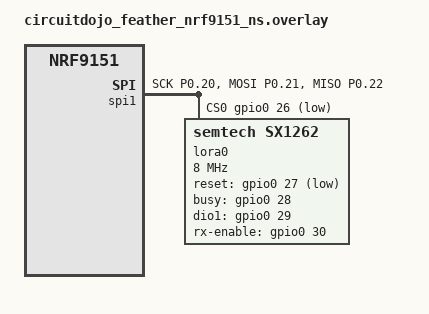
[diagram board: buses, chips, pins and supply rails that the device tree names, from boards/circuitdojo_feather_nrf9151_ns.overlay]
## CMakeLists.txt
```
cmake_minimum_required(VERSION 3.20.0)

# Register ret-client as a module whether or not the active west manifest
# lists it.
list(APPEND ZEPHYR_EXTRA_MODULES ${CMAKE_CURRENT_SOURCE_DIR}/../..)

find_package(Zephyr REQUIRED HINTS $ENV{ZEPHYR_BASE})
project(ret_lora_gateway)

target_sources(app PRIVATE src/main.c src/radio_task.c src/uplink.c src/store_zms.c)
# A transport node uses the library's internals, not the client API.
target_include_directories(app PRIVATE ../../src)

if(CONFIG_BOARD_NATIVE_SIM)
    target_sources(app PRIVATE src/network_sim.c src/radio_sim.c)
else()
    # The Feather: LTE through the modem, an SX1262 through Zephyr's LoRa API.
    target_sources(app PRIVATE src/network_modem.c src/radio_lora.c)
endif()
```

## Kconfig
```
# Copyright (c) 2026 Circuit Dojo LLC
# SPDX-License-Identifier: LicenseRef-Reticulum

menu "ret_lora_gateway sample"

config RET_GATEWAY_HOST
	string "Hub host name or address"
	help
	  An rnsd with a TCPServerInterface (any stock rnsd). The gateway
	  connects out to it, so its own address doesn't matter.

config RET_GATEWAY_PORT
	int "Hub port"
	default 4242
	range 1 65535

config RET_GATEWAY_RECONNECT_MAX_S
	int "Longest wait between reconnects (s)"
	default 60
	range 1 3600
	help
	  The wait doubles from 1 s after each failed connect.

config RET_GATEWAY_IFAC_NETWORK_NAME
	string "Hub interface's network_name (IFAC)"
	default ""

config RET_GATEWAY_IFAC_PASSPHRASE
	string "Hub interface's passphrase (IFAC)"
	default ""
	help
	  Set in env/<name>.conf, which git ignores: it ends up in the
	  firmware image. With neither name nor passphrase the uplink is open.

config RET_GATEWAY_IFAC_SIZE
	int "Hub interface's IFAC size in bytes (ifac_size / 8)"
	default 16
	range 1 64

config RET_GATEWAY_ANNOUNCE_CAP
	int "Uplink announce cap (percent of its bitrate)"
	default 2
	range 1 100

config RET_LORA_IFAC_NETWORK_NAME
	string "LoRa network_name (IFAC)"
	default ""
	help
	  Every node on the LoRa network must use the same.

config RET_LORA_IFAC_PASSPHRASE
	string "LoRa passphrase (IFAC)"
	default ""

config RET_LORA_IFAC_SIZE
	int "LoRa IFAC size in bytes"
	default 8
	range 1 8
	help
	  RNode's default. A 500-byte packet plus the code must fit the
	  508-byte LoRa MTU, so at most 8.

config RET_LORA_ANNOUNCE_CAP
	int "LoRa announce cap (percent of airtime)"
	default 2
	range 1 100
	help
	  Announces forwarded onto LoRa may use this share of the airtime;
	  the rest wait in a queue, fewest hops first.

config RET_LORA_TX_QUEUE
	int "Packets waiting for the radio"
	default 4
	range 1 32

config RET_LORA_BACKOFF_MS
	int "Longest random wait before transmitting (ms)"
	default 500
	range 0 10000
	help
	  The radio has no carrier sense yet, so this is the only thing
	  separating transmissions from other nodes. Restarted whenever a
	  frame is received.

config RET_LORA_FREQ_HZ
	int "Frequency (Hz)"
	default 915000000

config RET_LORA_BW_HZ
	int "Bandwidth (Hz)"
	default 500000
	help
	  Every node on the network must use the same frequency, bandwidth,
	  spreading factor and coding rate.

config RET_LORA_SF
	int "Spreading factor"
	default 9
	range 5 12

config RET_LORA_CR
	int "Coding rate denominator (5 to 8, for 4/5 to 4/8)"
	default 5
	range 5 8

config RET_LORA_TX_POWER_DBM
	int "TX power (dBm)"
	default 14
	range -9 22

rsource "Kconfig.store"

if !NRF_MODEM_LIB

config RET_LORA_SIM_AIR_PORT
	int "UDP port of the simulated air (tools/rns_peer/air.py)"
	default 5100

config RET_LORA_SIM_LOCAL_PORT
	int "UDP port of this simulated radio"
	default 5101

endif

endmenu

source "Kconfig.zephyr"
```

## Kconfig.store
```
# Copyright (c) 2026 Circuit Dojo LLC
# SPDX-License-Identifier: LicenseRef-Reticulum
#
# The path store (src/store_zms.c), shared by the gateway and bench/.

config RET_GATEWAY_STORE_MAX_PATHS
	int "Paths kept in flash"
	default 512
	range 16 65535
	help
	  One ZMS record per destination on gw_paths_partition. When this
	  many are stored, or ZMS is full, the record written longest ago
	  makes room. The RAM index takes 8 bytes per path, plus 4 per path of
	  boot-time scratch, and the partition must hold them all twice over
	  (checked at build time and at mount).

config RET_GATEWAY_ZMS_CACHE
	int "ZMS lookup cache entries for the path store"
	default 1024
	help
	  8 bytes each. A read whose cache slot belongs to another path walks
	  the log back from the newest entry: keep this at about twice
	  RET_GATEWAY_STORE_MAX_PATHS.
```

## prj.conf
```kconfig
CONFIG_MAIN_STACK_SIZE=8192
CONFIG_HEAP_MEM_POOL_SIZE=4096

CONFIG_NETWORKING=y
CONFIG_NET_SOCKETS=y
CONFIG_NET_IPV4=y
CONFIG_NET_TCP=y

# A transport node: the protocol core and the routing tables, no client.
CONFIG_RET_CORE=y
CONFIG_RET_TRANSPORT=y

# Paths in ZMS, a record each, on a partition of their own
# (gw_paths_partition); settings (identity, boot counter) in ZMS on the
# board's settings partition. 32-bit IDs keep ZMS's data CRC.
CONFIG_FLASH=y
CONFIG_FLASH_MAP=y
CONFIG_FLASH_PAGE_LAYOUT=y
CONFIG_ZMS=y
CONFIG_ZMS_DATA_CRC=y
CONFIG_ZMS_LOOKUP_CACHE=y
CONFIG_ZMS_LOOKUP_CACHE_MANUAL=y
CONFIG_SETTINGS=y
CONFIG_SETTINGS_ZMS=y

CONFIG_POLL=y
CONFIG_LOG=y
```

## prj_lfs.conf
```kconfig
CONFIG_MAIN_STACK_SIZE=8192
CONFIG_HEAP_MEM_POOL_SIZE=4096

CONFIG_NETWORKING=y
CONFIG_NET_SOCKETS=y
CONFIG_NET_IPV4=y
CONFIG_NET_TCP=y

# A transport node: the protocol core and the routing tables, no client.
CONFIG_RET_CORE=y
CONFIG_RET_TRANSPORT=y

# Paths and the node's identity live on LittleFS (/lfs): the paths as one
# file each, settings in a file next to them.
CONFIG_FLASH=y
CONFIG_FLASH_MAP=y
CONFIG_FLASH_PAGE_LAYOUT=y
CONFIG_FILE_SYSTEM=y
CONFIG_FILE_SYSTEM_LITTLEFS=y
CONFIG_SETTINGS=y
CONFIG_SETTINGS_FILE=y
CONFIG_SETTINGS_FILE_PATH="/lfs/gw-settings"
CONFIG_RET_GATEWAY_STORE_LFS=y

CONFIG_POLL=y
CONFIG_LOG=y
```

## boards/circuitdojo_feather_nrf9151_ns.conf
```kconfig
# The Feather: LTE through the modem (offloaded sockets), as samples/ret_basic.
CONFIG_NET_SOCKETS_OFFLOAD=y
CONFIG_NET_IPV6=y
CONFIG_NET_IPV6_NBR_CACHE=n
CONFIG_NET_IPV6_MLD=n
# The modem runs TCP/IP: trim Zephyr's native stack (see ret_basic's board conf).
CONFIG_NET_TCP=n
CONFIG_NET_MAX_CONN=1
CONFIG_NET_MAX_CONTEXTS=1
CONFIG_NET_PKT_RX_COUNT=2
CONFIG_NET_PKT_TX_COUNT=2
CONFIG_NET_BUF_RX_COUNT=4
CONFIG_NET_BUF_TX_COUNT=4
CONFIG_NRF_MODEM_LIB=y
CONFIG_NRF_MODEM_LIB_NET_IF=y
CONFIG_NRF_MODEM_LIB_NET_IF_AUTO_START=y
CONFIG_NRF_MODEM_LIB_NET_IF_AUTO_CONNECT=y
CONFIG_NET_CONNECTION_MANAGER=y
CONFIG_NET_CONNECTION_MANAGER_MONITOR_STACK_SIZE=1024
CONFIG_AT_MONITOR_HEAP_SIZE=1024

# TF-M with the crypto the library needs.
CONFIG_TFM_PROFILE_TYPE_NOT_SET=y
# TF-M logs on UART instance 1 by default, which makes the instance secure:
# SPIM1 (the SX1262's SPI, the same instance) then bus-faults the
# non-secure app at its first register write (pinctrl, at boot).
CONFIG_TFM_LOG_LEVEL_SILENCE=y

# The SX1262's IRQ work (SPI transfers, the RX callback copying a 256-byte
# frame, CRC-error and queue-full logs in immediate mode) runs on the
# system workqueue: 1152 bytes by default is tight.
CONFIG_SYSTEM_WORKQUEUE_STACK_SIZE=2048
CONFIG_NPM13XX_CHARGER=n
CONFIG_STS4X=n

# The external W25Q128 NOR, holding settings and paths (ZMS).
CONFIG_SPI=y
CONFIG_SPI_NOR=y
CONFIG_SPI_NOR_FLASH_LAYOUT_PAGE_SIZE=4096
CONFIG_SPI_NOR_SFDP_RUNTIME=y

# The SX1262, through Zephyr's native driver. It must not sleep between
# operations: a late RX-done would find it asleep.
CONFIG_LORA=y
CONFIG_LORA_MODULE_BACKEND_NATIVE=y
# The LoRaMac-node driver defaults on for any SX1262 in the devicetree,
# whatever the backend; its module is not in the workspace.
CONFIG_LORA_SX126X=n
CONFIG_LORA_SX126X_NATIVE_SLEEP=n

CONFIG_THREAD_ANALYZER=y
CONFIG_THREAD_ANALYZER_AUTO=y
CONFIG_THREAD_ANALYZER_AUTO_INTERVAL=60
CONFIG_THREAD_NAME=y
CONFIG_LOG_MODE_IMMEDIATE=y
```

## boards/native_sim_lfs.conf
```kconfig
# Host sockets (NSOS), as in the other samples. The radio is simulated
# over UDP, see src/radio_sim.c.
CONFIG_NET_DRIVERS=y
CONFIG_NET_SOCKETS_OFFLOAD=y
CONFIG_NET_NATIVE_OFFLOADED_SOCKETS=y
CONFIG_NET_UDP=y
CONFIG_ETH_NATIVE_TAP=n

CONFIG_PICOLIBC=y

CONFIG_MBEDTLS=y
CONFIG_MBEDTLS_BUILTIN=y
CONFIG_MBEDTLS_ENABLE_HEAP=y
CONFIG_MBEDTLS_HEAP_SIZE=8192

CONFIG_RET_GATEWAY_HOST="127.0.0.1"
```

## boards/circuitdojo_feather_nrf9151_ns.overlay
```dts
/*
 * The gateway on the nRF9151 Feather.
 *
 * - Internal flash: TF-M and the app (samples/common), no bootloader.
 * - External NOR: ZMS settings and paths, each on a partition of their own,
 *   instead of the board's 16 MB LittleFS. Flashing this replaces whatever
 *   LittleFS held there (other samples' settings).
 * - SX1262: a Seeed Wio-SX1262 for XIAO (the version with the 30-pin
 *   board-to-board connector), wired as in ../docs/wio-sx1262-hookup.md.
 *   SPI on the Feather header (SCK P0.20, COPI P0.21, CIPO P0.22) through
 *   spi1 (uart1's instance, unused); the NOR keeps spi3. Control pins:
 *   NSS D2 (P0.26), NRESET D3 (P0.27), BUSY D4 (P0.28), DIO1 D5 (P0.29),
 *   RF_SW D6 (P0.30). The module's RF switch has two controls: DIO2 for
 *   TX, RF_SW (high in RX, low otherwise) for RX. Driving RF_SW alongside
 *   DIO2 needs zephyr/patches.yml (the native driver otherwise ignores
 *   rx-enable-gpios when dio2-tx-enable is set). TCXO 1.8 V from DIO3.
 */

#include <zephyr/dt-bindings/lora/sx126x.h>

#include "../../common/circuitdojo_feather_nrf9151_ns_flash.dtsi"

/delete-node/ &lfs;
/delete-node/ &lfs_partition;

/ {
	chosen {
		zephyr,settings-partition = &gw_settings_partition;
	};
};

&w25q128jv {
	partitions {
		gw_settings_partition: partition@0 {
			label = "gw-settings";
			reg = <0x00000000 0x00010000>;
		};

		gw_paths_partition: partition@10000 {
			label = "gw-paths";
			reg = <0x00010000 0x00800000>;
		};
	};
};

&pinctrl {
	spi1_default: spi1_default {
		group1 {
			psels = <NRF_PSEL(SPIM_SCK, 0, 20)>,
				<NRF_PSEL(SPIM_MOSI, 0, 21)>,
				<NRF_PSEL(SPIM_MISO, 0, 22)>;
		};
	};

	spi1_sleep: spi1_sleep {
		group1 {
			psels = <NRF_PSEL(SPIM_SCK, 0, 20)>,
				<NRF_PSEL(SPIM_MOSI, 0, 21)>,
				<NRF_PSEL(SPIM_MISO, 0, 22)>;
			low-power-enable;
		};
	};
};

&uart1 {
	status = "disabled";
};

&spi1 {
	compatible = "nordic,nrf-spim";
	status = "okay";
	cs-gpios = <&gpio0 26 GPIO_ACTIVE_LOW>;
	pinctrl-0 = <&spi1_default>;
	pinctrl-1 = <&spi1_sleep>;
	pinctrl-names = "default", "sleep";

	lora0: lora@0 {
		compatible = "semtech,sx1262";
		reg = <0>;
		spi-max-frequency = <8000000>;
		reset-gpios = <&gpio0 27 GPIO_ACTIVE_LOW>;
		busy-gpios = <&gpio0 28 GPIO_ACTIVE_HIGH>;
		dio1-gpios = <&gpio0 29 GPIO_ACTIVE_HIGH>;
		rx-enable-gpios = <&gpio0 30 GPIO_ACTIVE_HIGH>;
		dio2-tx-enable;
		dio3-tcxo-voltage = <SX126X_DIO3_TCXO_1V8>;
		tcxo-power-startup-delay-ms = <5>;
	};
};
```

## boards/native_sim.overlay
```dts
/*
 * LittleFS at /lfs, as on the Feather's external NOR: the upper half of
 * the simulated flash (a file, --flash=<path>), above the board's
 * partitions.
 */

/ {
	fstab {
		compatible = "zephyr,fstab";
		lfs: lfs {
			compatible = "zephyr,fstab,littlefs";
			mount-point = "/lfs";
			partition = <&lfs_partition>;
			automount;
			read-size = <16>;
			prog-size = <16>;
			cache-size = <64>;
			lookahead-size = <32>;
			block-cycles = <512>;
		};
	};
};

&flash0 {
	partitions {
		lfs_partition: partition@100000 {
			label = "lfs";
			reg = <0x00100000 0x00100000>;
		};
	};
};
```

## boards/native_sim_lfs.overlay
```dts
/*
 * LittleFS at /lfs, as on the Feather's external NOR: the upper half of
 * the simulated flash (a file, --flash=<path>), above the board's
 * partitions.
 */

/ {
	fstab {
		compatible = "zephyr,fstab";
		lfs: lfs {
			compatible = "zephyr,fstab,littlefs";
			mount-point = "/lfs";
			partition = <&lfs_partition>;
			automount;
			read-size = <16>;
			prog-size = <16>;
			cache-size = <64>;
			lookahead-size = <32>;
			block-cycles = <512>;
		};
	};
};

&flash0 {
	partitions {
		lfs_partition: partition@100000 {
			compatible = "zephyr,mapped-partition";
			label = "lfs";
			reg = <0x00100000 0x00100000>;
		};
	};
};
```

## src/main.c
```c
/*
 * Copyright (c) 2026 Circuit Dojo LLC
 * SPDX-License-Identifier: LicenseRef-Reticulum
 *
 * LoRa gateway: a Reticulum transport node with two interfaces, the LoRa
 * radio (RNode framing, gateway mode) and a TCP uplink to a stock rnsd.
 * It routes LoRa to LoRa itself and LoRa to the hub's network, so the hub
 * needs no special configuration. This thread owns all routing state
 * (src/ret_transport.c); the radio and uplink threads post frames to it.
 */

#include <errno.h>
#include <stdio.h>
#include <string.h>

#include <zephyr/kernel.h>
#include <zephyr/logging/log.h>
#include <zephyr/settings/settings.h>

#include "gateway.h"
#include "network.h"
#include "ret_crypto.h"
#include "ret_identity.h"
#include "ret_ifac.h"
#include "ret_rnode_air.h"
#include "ret_transport.h"

LOG_MODULE_REGISTER(gateway, LOG_LEVEL_INF);

#define LORA_QUEUE_DEPTH   4
#define UPLINK_QUEUE_DEPTH 6
/* A hub that keeps sending could otherwise starve the timers. */
#define MAX_EVENTS_PER_JOB 8
/* At most one IFAC failure report per interface per this long. */
#define IFAC_REPORT_MS     30000

struct gw_msg {
	uint8_t type;
	uint16_t len;
	uint8_t data[RET_TRANSPORT_FRAME_MAX];
};

/* LoRa frames, and the uplink's frames and events, queued apart: the radio
 * thread can't wait (it would miss frames), the uplink thread can.
 */
K_MSGQ_DEFINE(lora_q, sizeof(struct gw_msg), LORA_QUEUE_DEPTH, 4);
K_MSGQ_DEFINE(uplink_q, sizeof(struct gw_msg), UPLINK_QUEUE_DEPTH, 4);

static struct ret_transport tp;
static struct ret_local_identity identity;
static struct ret_ifac lora_ifac;
static struct ret_ifac uplink_ifac;

/* Settings: gw/id (the transport identity's private key), gw/boot. */
static uint8_t stored_prv[RET_PRVKEY_LEN];
static bool have_id;
static uint32_t boot;
static int settings_err;

static int gw_set(const char *name, size_t len, settings_read_cb read_cb, void *cb_arg)
{
	if (strcmp(name, "id") == 0) {
		if (len != sizeof(stored_prv) ||
		    read_cb(cb_arg, stored_prv, sizeof(stored_prv)) != (ssize_t)len) {
			settings_err = -EBADMSG;
			return 0;
		}
		have_id = true;
	} else if (strcmp(name, "boot") == 0) {
		if (len != sizeof(boot) || read_cb(cb_arg, &boot, sizeof(boot)) != (ssize_t)len) {
			settings_err = -EBADMSG;
		}
	}
	/* Noted rather than returned: an error would stop the load there. */
	return 0;
}

SETTINGS_STATIC_HANDLER_DEFINE(gw, "gw", NULL, gw_set, NULL, NULL);

/* The transport identity is the node's transport ID: keep it across boots. */
static int load_identity(void)
{
	int err = settings_subsys_init();

	if (!err) {
		err = settings_load_subtree("gw");
	}
	if (!err) {
		err = settings_err;
	}
	if (err) {
		/* Never replace an unreadable identity: paths others hold through us use it. */
		LOG_ERR("settings unreadable: %d", err);
		return err;
	}
	if (!have_id && boot > 0) {
		/* Booted before but the identity is gone: the settings file was damaged. */
		LOG_ERR("identity missing after %u boots", boot);
		return -ENOENT;
	}
	if (have_id) {
		err = ret_local_identity_load(&identity, stored_prv);
	} else {
		err = ret_local_identity_generate(&identity, stored_prv);
		if (!err) {
			err = settings_save_one("gw/id", stored_prv, sizeof(stored_prv));
		}
	}
	ret_wipe(stored_prv, sizeof(stored_prv));
	if (err) {
		return err;
	}
	boot++;
	return settings_save_one("gw/boot", &boot, sizeof(boot));
}

static int lora_send(struct ret_transport_iface *iface, const uint8_t *frame, size_t len)
{
	ARG_UNUSED(iface);
	return radio_task_send(frame, len);
}

static int uplink_tx(struct ret_transport_iface *iface, const uint8_t *frame, size_t len)
{
	ARG_UNUSED(iface);
	return uplink_send(frame, len);
}

static struct ret_transport_iface lora = {
	.name = "LoRa",
	/* Path requests from LoRa nodes for unknown destinations go upstream. */
	.mode = RET_IFACE_MODE_GATEWAY,
	.hw_mtu = RET_RNODE_MTU,
	/* As an RNode: no link MTU signalling onto the radio. */
	.mtu_signalling = false,
	.announce_cap = CONFIG_RET_LORA_ANNOUNCE_CAP * 100,
	.send = lora_send,
};

static struct ret_transport_iface uplink = {
	.name = "uplink",
	.mode = RET_IFACE_MODE_FULL,
	/* TCPClientInterface's figure. */
	.bitrate = 10 * 1000 * 1000,
	/* Nothing larger can go anywhere from here, and links through us
	 * then signal what LoRa can carry.
	 */
	.hw_mtu = RET_RNODE_MTU,
	.mtu_signalling = true,
	.announce_cap = CONFIG_RET_GATEWAY_ANNOUNCE_CAP * 100,
	.send = uplink_tx,
};

static struct ret_transport_iface *const ifaces[] = { &lora, &uplink };

static int setup_ifac(struct ret_ifac *f, const char *name, const char *pass, uint8_t size,
		      const struct ret_ifac **out)
{
	int err;

	if (name[0] == '\0' && pass[0] == '\0') {
		*out = NULL;
		return 0;
	}
	err = ret_ifac_init(f, name, pass, size);
	*out = err ? NULL : f;
	return err;
}

int gw_post(enum gw_event type, const uint8_t *data, size_t len, k_timeout_t timeout)
{
	struct gw_msg m = { .type = (uint8_t)type, .len = (uint16_t)len };

	if (len > sizeof(m.data)) {
		return -EMSGSIZE;
	}
	if (len) {
		memcpy(m.data, data, len);
	}
	return k_msgq_put(type == GW_FRAME_LORA ? &lora_q : &uplink_q, &m, timeout);
}

static void handle(const struct gw_msg *m)
{
	int64_t now = k_uptime_get();
	uint8_t hash[RET_HASH_LEN];

	switch (m->type) {
	case GW_FRAME_LORA:
		ret_transport_inbound(&tp, &lora, m->data, m->len, now);
		break;
	case GW_FRAME_UPLINK:
		ret_transport_inbound(&tp, &uplink, m->data, m->len, now);
		break;
	case GW_UPLINK_UP:
		ret_transport_iface_online(&tp, &uplink, true, now);
		uplink_iface_hash(hash);
		if (ret_transport_synthesize_tunnel(&tp, &uplink, hash, now)) {
			LOG_WRN("tunnel synthesis not sent");
		}
		break;
	case GW_UPLINK_DOWN:
		ret_transport_iface_online(&tp, &uplink, false, now);
		break;
	default:
		break;
	}
}

static void log_identity(void)
{
	char hex[2 * RET_TRUNC_HASH_LEN + 1];

	for (int i = 0; i < RET_TRUNC_HASH_LEN; i++) {
		snprintf(&hex[2 * i], 3, "%02x", identity.hash[i]);
	}
	LOG_INF("transport node <%s>, boot %u", hex, boot);
}

/*
 * Frames failing IFAC are dropped before routing, so nothing from a node
 * without the passphrase reaches the uplink. Report them, rate limited: a
 * neighbour on the same channel without the passphrase is normal on LoRa.
 */
static void report_ifac_drops(int64_t now)
{
	static uint32_t reported[ARRAY_SIZE(ifaces)];
	static int64_t next_report[ARRAY_SIZE(ifaces)];

	for (size_t i = 0; i < ARRAY_SIZE(ifaces); i++) {
		uint32_t n = ifaces[i]->ifac_drops;

		if (n != reported[i] && now >= next_report[i]) {
			LOG_INF("%s: %u frames failed IFAC, dropped (%u total)", ifaces[i]->name,
				n - reported[i], n);
			reported[i] = n;
			next_report[i] = now + IFAC_REPORT_MS;
		}
	}
}

int main(void)
{
	static struct gw_msg m;
	struct k_poll_event ev[2];
	struct ret_transport_store *store;
	int64_t next;
	int err;

	err = ret_crypto_init();
	if (!err) {
		err = load_identity();
	}
	if (!err) {
		err = store_init(&store);
	}
	if (!err) {
		err = setup_ifac(&lora_ifac, CONFIG_RET_LORA_IFAC_NETWORK_NAME,
				 CONFIG_RET_LORA_IFAC_PASSPHRASE, CONFIG_RET_LORA_IFAC_SIZE,
				 &lora.ifac);
	}
	if (!err) {
		err = setup_ifac(&uplink_ifac, CONFIG_RET_GATEWAY_IFAC_NETWORK_NAME,
				 CONFIG_RET_GATEWAY_IFAC_PASSPHRASE, CONFIG_RET_GATEWAY_IFAC_SIZE,
				 &uplink.ifac);
	}
	if (err) {
		LOG_ERR("start failed: %d", err);
		return 0;
	}
	log_identity();

	lora.bitrate = radio_task_bitrate();
	err = ret_transport_init(&tp, &identity, store, ifaces, ARRAY_SIZE(ifaces), boot,
				 k_uptime_get());
	if (!err) {
		err = radio_task_start();
	}
	if (err) {
		LOG_ERR("start failed: %d", err);
		return 0;
	}
	ret_transport_iface_online(&tp, &lora, true, k_uptime_get());
	LOG_INF("LoRa %d Hz, BW %d Hz, SF%d, CR 4/%d, %d dBm, %u bps", CONFIG_RET_LORA_FREQ_HZ,
		CONFIG_RET_LORA_BW_HZ, CONFIG_RET_LORA_SF, CONFIG_RET_LORA_CR,
		CONFIG_RET_LORA_TX_POWER_DBM, lora.bitrate);

	wait_for_network();
	uplink_start();

	k_poll_event_init(&ev[0], K_POLL_TYPE_MSGQ_DATA_AVAILABLE, K_POLL_MODE_NOTIFY_ONLY,
			  &lora_q);
	k_poll_event_init(&ev[1], K_POLL_TYPE_MSGQ_DATA_AVAILABLE, K_POLL_MODE_NOTIFY_ONLY,
			  &uplink_q);
	next = k_uptime_get();
	for (;;) {
		int64_t now = k_uptime_get();

		if (now >= next) {
			next = ret_transport_jobs(&tp, now);
			report_ifac_drops(now);
		}
		ev[0].state = K_POLL_STATE_NOT_READY;
		ev[1].state = K_POLL_STATE_NOT_READY;
		(void)k_poll(ev, ARRAY_SIZE(ev), K_MSEC(MAX(next - now, 0)));
		/* LoRa first: frames on the air don't wait. */
		for (int handled = 0; handled < MAX_EVENTS_PER_JOB; handled++) {
			if (k_msgq_get(&lora_q, &m, K_NO_WAIT) != 0 &&
			    k_msgq_get(&uplink_q, &m, K_NO_WAIT) != 0) {
				break;
			}
			handle(&m);
		}
	}
	return 0;
}
```

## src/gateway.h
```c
/*
 * Copyright (c) 2026 Circuit Dojo LLC
 * SPDX-License-Identifier: LicenseRef-Reticulum
 *
 * The gateway's parts: the transport thread (main.c) owns all routing
 * state; the radio and uplink threads only move frames and post them to it.
 */

#ifndef GATEWAY_H_
#define GATEWAY_H_

#include <stddef.h>
#include <stdint.h>
#include <sys/types.h>

#include <zephyr/kernel.h>

#include "ret_transport.h"

enum gw_event {
	GW_FRAME_LORA,
	GW_FRAME_UPLINK,
	GW_UPLINK_UP,
	GW_UPLINK_DOWN,
};

/**
 * Hand a frame or an event to the transport thread. LoRa frames have a
 * queue of their own, so a busy uplink can't crowd them out.
 */
int gw_post(enum gw_event type, const uint8_t *data, size_t len, k_timeout_t timeout);

/* radio_task.c */
int radio_task_start(void);
/** Queue a packet (up to 508 bytes) for the radio. Never blocks. Transport thread only. */
int radio_task_send(const uint8_t *pkt, size_t len);
/** The radio's bitrate, by RNode's formula (RNodeInterface.updateBitrate). */
uint32_t radio_task_bitrate(void);

/* uplink.c */
int uplink_start(void);
/** Send a frame to the hub (HDLC framed). Called on the transport thread. */
int uplink_send(const uint8_t *frame, size_t len);
/** SHA-256 naming the uplink for tunnel synthesis; the same on every connect. */
void uplink_iface_hash(uint8_t hash[RET_HASH_LEN]);

/* store_zms.c */
int store_init(struct ret_transport_store **store);
/** Flash the store occupies now, in bytes. */
ssize_t store_used_bytes(void);

#endif /* GATEWAY_H_ */
```

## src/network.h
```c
/*
 * Copyright (c) 2026 Circuit Dojo LLC
 * SPDX-License-Identifier: LicenseRef-Reticulum
 */

#ifndef NETWORK_H_
#define NETWORK_H_

/** Block until the network is up (LTE on the modem; no-op on native_sim). */
void wait_for_network(void);

#endif /* NETWORK_H_ */
```

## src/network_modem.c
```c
/*
 * Copyright (c) 2026 Circuit Dojo LLC
 * SPDX-License-Identifier: LicenseRef-Reticulum
 */

#include <zephyr/kernel.h>
#include <zephyr/logging/log.h>
#include <zephyr/net/conn_mgr_monitor.h>
#include <zephyr/net/net_event.h>
#include <zephyr/net/net_mgmt.h>

#include "network.h"

LOG_MODULE_REGISTER(network, LOG_LEVEL_INF);

static K_SEM_DEFINE(l4_up, 0, 1);
static struct net_mgmt_event_callback l4_cb;

static void l4_handler(struct net_mgmt_event_callback *cb, uint64_t event,
		       struct net_if *iface)
{
	ARG_UNUSED(cb);
	ARG_UNUSED(iface);

	if (event == NET_EVENT_L4_CONNECTED) {
		LOG_INF("LTE connected");
		k_sem_give(&l4_up);
	} else if (event == NET_EVENT_L4_DISCONNECTED) {
		/* The client notices on its own and reconnects when LTE returns. */
		LOG_WRN("LTE disconnected");
	}
}

void wait_for_network(void)
{
	net_mgmt_init_event_callback(&l4_cb, l4_handler,
				     NET_EVENT_L4_CONNECTED | NET_EVENT_L4_DISCONNECTED);
	net_mgmt_add_event_callback(&l4_cb);
	/* Replays the current state, in case LTE came up before we listened. */
	conn_mgr_mon_resend_status();

	LOG_INF("waiting for LTE...");
	k_sem_take(&l4_up, K_FOREVER);
}
```

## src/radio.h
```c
/*
 * Copyright (c) 2026 Circuit Dojo LLC
 * SPDX-License-Identifier: LicenseRef-Reticulum
 */

#ifndef RADIO_H_
#define RADIO_H_

#include <stddef.h>
#include <stdint.h>

struct radio_frame {
	const uint8_t *data;
	size_t len;
};

/**
 * Called for each frame received. Possibly on a system thread: copy the
 * frame and return.
 */
typedef void (*radio_rx_cb)(const uint8_t *data, size_t len);

/** Configure the radio and start receiving. */
int radio_init(radio_rx_cb cb);

/**
 * Transmit frames back to back, with nothing between them, and go back to
 * receiving. Blocks until the last one is sent.
 */
int radio_send(const struct radio_frame *frames, size_t count);

#endif /* RADIO_H_ */
```

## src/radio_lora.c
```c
/*
 * Copyright (c) 2026 Circuit Dojo LLC
 * SPDX-License-Identifier: LicenseRef-Reticulum
 *
 * The SX1262 through Zephyr's LoRa API (native SX126x driver), set up as an
 * RNode: explicit header, CRC on, no IQ inversion, the private sync word
 * (0x1424), and a long preamble. Configured once: lora_config() fails with
 * -EBUSY while receiving. A send stops reception, sends the frames back to
 * back and starts receiving again; if that restart fails, it is retried
 * every second until it works, so the gateway is never left deaf.
 */

#include <errno.h>
#include <stdbool.h>

#include <zephyr/device.h>
#include <zephyr/drivers/lora.h>
#include <zephyr/kernel.h>
#include <zephyr/logging/log.h>

#include "radio.h"

LOG_MODULE_REGISTER(radio_lora, LOG_LEVEL_INF);

/* RNode sends at least 18 preamble symbols; 24 covers its usual figure. */
#define PREAMBLE_SYMBOLS 24

/*
 * The native driver gives every transmission 10 s on the chip
 * (sx126x_set_tx(dev, 10000)): a longer frame is cut off on the air. The
 * worst case is a full 255-byte frame, by the SX126x datasheet formula
 * (low data rate optimisation assumed, 4.25 preamble symbols rounded up).
 * At SF12 / 125 kHz / CR 4/8 it is about 14.6 s.
 */
#define FRAME_MAX_BYTES   255
#define FRAME_PAYLOAD_SYM                                                                          \
	(DIV_ROUND_UP(8 * FRAME_MAX_BYTES + 44 - 4 * CONFIG_RET_LORA_SF,                           \
		      4 * (CONFIG_RET_LORA_SF - 2)) *                                              \
	 CONFIG_RET_LORA_CR)
#define FRAME_AIRTIME_MS                                                                           \
	(((uint64_t)(PREAMBLE_SYMBOLS + 5 + 8 + FRAME_PAYLOAD_SYM) * BIT(CONFIG_RET_LORA_SF) *     \
	  MSEC_PER_SEC) /                                                                          \
	 CONFIG_RET_LORA_BW_HZ)
#define DRIVER_TX_TIMEOUT_MS 10000
BUILD_ASSERT(FRAME_AIRTIME_MS < DRIVER_TX_TIMEOUT_MS,
	     "a full LoRa frame takes longer than the driver allows a transmission (10 s): "
	     "raise the bandwidth or lower the spreading factor or coding rate");

#define RX_RETRY_MS      1000
/* While a send holds the radio: try again shortly after. */
#define RX_BUSY_RETRY_MS 100

static const struct device *const lora = DEVICE_DT_GET(DT_NODELABEL(lora0));
static radio_rx_cb rx_cb;

/* Held by radio_send(); the retry work only ever tries it. */
static K_MUTEX_DEFINE(radio_lock);
/* Under radio_lock: the last attempt to receive failed. */
static bool rx_down;
static void rx_retry(struct k_work *work);
static K_WORK_DELAYABLE_DEFINE(rx_retry_work, rx_retry);

/* On the driver's work queue: radio_task.c's callback copies and returns. */
static void on_rx(const struct device *dev, uint8_t *data, uint16_t size, int16_t rssi,
		  int8_t snr, void *user)
{
	ARG_UNUSED(dev);
	ARG_UNUSED(rssi);
	ARG_UNUSED(snr);
	ARG_UNUSED(user);
	if (size > 0) {
		rx_cb(data, size);
	}
}

static int receive(void)
{
	return lora_recv_async(lora, on_rx, NULL);
}

/*
 * Receive again, retrying from the system work queue until it works.
 * Logged when reception stops and when it comes back, not every retry.
 */
static int receive_or_retry(void)
{
	int err = receive();

	if (err && !rx_down) {
		LOG_ERR("receive: %d, retrying every %d ms", err, RX_RETRY_MS);
	} else if (!err && rx_down) {
		LOG_INF("receiving again");
	}
	rx_down = err != 0;
	if (rx_down) {
		k_work_reschedule(&rx_retry_work, K_MSEC(RX_RETRY_MS));
	}
	return err;
}

/*
 * On the system work queue, which also runs the driver's IRQ work (TX
 * done): never wait for radio_send() here, it may be waiting for that.
 */
static void rx_retry(struct k_work *work)
{
	ARG_UNUSED(work);
	if (k_mutex_lock(&radio_lock, K_NO_WAIT) != 0) {
		k_work_reschedule(&rx_retry_work, K_MSEC(RX_BUSY_RETRY_MS));
		return;
	}
	/* A send since may have restarted reception already. */
	if (rx_down) {
		(void)receive_or_retry();
	}
	k_mutex_unlock(&radio_lock);
}

int radio_init(radio_rx_cb cb)
{
	struct lora_modem_config cfg = {
		.frequency = CONFIG_RET_LORA_FREQ_HZ,
		.bandwidth = (enum lora_signal_bandwidth)(CONFIG_RET_LORA_BW_HZ / 1000),
		.datarate = (enum lora_datarate)CONFIG_RET_LORA_SF,
		.coding_rate = (enum lora_coding_rate)(CONFIG_RET_LORA_CR - 4),
		.preamble_len = PREAMBLE_SYMBOLS,
		.tx_power = CONFIG_RET_LORA_TX_POWER_DBM,
		.tx = false,
		.iq_inverted = false,
		.public_network = false,
	};
	int err;

	if (!device_is_ready(lora)) {
		LOG_ERR("SX1262 not ready");
		return -ENODEV;
	}
	rx_cb = cb;
	err = lora_config(lora, &cfg);
	if (err) {
		LOG_ERR("config: %d", err);
		return err;
	}
	/* No retry at boot: a radio that can't receive from the start fails
	 * the gateway's start, loudly.
	 */
	err = receive();
	if (err) {
		LOG_ERR("receive: %d", err);
	}
	return err;
}

int radio_send(const struct radio_frame *frames, size_t count)
{
	int err;
	int rx_err;

	k_mutex_lock(&radio_lock, K_FOREVER);
	/* Not needed with the lock held, but no point in it firing. */
	k_work_cancel_delayable(&rx_retry_work);
	err = lora_recv_async(lora, NULL, NULL);
	for (size_t i = 0; !err && i < count; i++) {
		err = lora_send(lora, (uint8_t *)frames[i].data, (uint32_t)frames[i].len);
	}
	if (err) {
		LOG_WRN("send: %d", err);
	}
	/* Always back to receiving, even after a failed send. */
	rx_err = receive_or_retry();
	k_mutex_unlock(&radio_lock);
	return err ? err : rx_err;
}
```

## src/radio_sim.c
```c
/*
 * Copyright (c) 2026 Circuit Dojo LLC
 * SPDX-License-Identifier: LicenseRef-Reticulum
 *
 * A radio on native_sim: each LoRa frame is one UDP datagram to the
 * simulated air (tools/rns_peer/air.py), which decides who hears it.
 */

#include <errno.h>

#include <zephyr/kernel.h>
#include <zephyr/logging/log.h>
#include <zephyr/net/socket.h>

#include "radio.h"
#include "ret_rnode_air.h"

LOG_MODULE_REGISTER(radio_sim, LOG_LEVEL_INF);

#define RX_STACK_SIZE 2048

static int sock = -1;
static struct sockaddr_in air;
static radio_rx_cb rx_cb;
static K_THREAD_STACK_DEFINE(rx_stack, RX_STACK_SIZE);
static struct k_thread rx_thread;

static void rx_loop(void *a, void *b, void *c)
{
	static uint8_t buf[RET_RNODE_FRAME_MAX];

	ARG_UNUSED(a);
	ARG_UNUSED(b);
	ARG_UNUSED(c);

	for (;;) {
		ssize_t n = zsock_recv(sock, buf, sizeof(buf), 0);

		if (n > 0) {
			rx_cb(buf, (size_t)n);
		} else if (n < 0) {
			LOG_ERR("recv: %d", errno);
			k_sleep(K_MSEC(100));
		}
	}
}

int radio_init(radio_rx_cb cb)
{
	struct sockaddr_in local = {
		.sin_family = AF_INET,
		.sin_port = htons(CONFIG_RET_LORA_SIM_LOCAL_PORT),
	};

	rx_cb = cb;
	air.sin_family = AF_INET;
	air.sin_port = htons(CONFIG_RET_LORA_SIM_AIR_PORT);
	zsock_inet_pton(AF_INET, "127.0.0.1", &air.sin_addr);
	zsock_inet_pton(AF_INET, "127.0.0.1", &local.sin_addr);

	sock = zsock_socket(AF_INET, SOCK_DGRAM, IPPROTO_UDP);
	if (sock < 0) {
		return -errno;
	}
	if (zsock_bind(sock, (struct sockaddr *)&local, sizeof(local)) < 0) {
		return -errno;
	}
	k_thread_create(&rx_thread, rx_stack, K_THREAD_STACK_SIZEOF(rx_stack), rx_loop, NULL, NULL,
			NULL, K_PRIO_PREEMPT(8), 0, K_NO_WAIT);
	return 0;
}

int radio_send(const struct radio_frame *frames, size_t count)
{
	for (size_t i = 0; i < count; i++) {
		if (zsock_sendto(sock, frames[i].data, frames[i].len, 0, (struct sockaddr *)&air,
				 sizeof(air)) < 0) {
			return -errno;
		}
	}
	return 0;
}
```

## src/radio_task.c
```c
/*
 * Copyright (c) 2026 Circuit Dojo LLC
 * SPDX-License-Identifier: LicenseRef-Reticulum
 *
 * The radio thread: reassembles RNode frames into packets for the
 * transport, and transmits queued packets after a random backoff, never
 * while the second half of a split packet is due.
 */

#include <errno.h>
#include <string.h>

#include <zephyr/kernel.h>
#include <zephyr/logging/log.h>
#include <zephyr/sys/util.h>

#include "gateway.h"
#include "radio.h"
#include "ret_crypto.h"
#include "ret_rnode_air.h"

LOG_MODULE_REGISTER(radio_task, LOG_LEVEL_INF);

/*
 * Low data rate optimisation is not configurable in Zephyr's driver, which
 * turns it on for symbols over 16 ms. RNode decides with integer division,
 * so settings just over the line (e.g. SF11 at 125 kHz) would not interoperate.
 */
#define SYMBOL_OVER_16MS ((BIT(CONFIG_RET_LORA_SF) * 1000) > (16 * CONFIG_RET_LORA_BW_HZ))
#define RNODE_LDRO       ((BIT(CONFIG_RET_LORA_SF) / (CONFIG_RET_LORA_BW_HZ / 1000)) > 16)
BUILD_ASSERT(SYMBOL_OVER_16MS == RNODE_LDRO,
	     "these LoRa settings set low data rate optimisation differently from RNode");

#define RX_QUEUE_DEPTH  4
#define STACK_SIZE      3072
#define SPLIT_MARGIN_MS 500

struct rx_frame {
	uint8_t len;
	uint8_t data[RET_RNODE_FRAME_MAX];
};

struct tx_packet {
	uint16_t len;
	uint8_t data[RET_RNODE_MTU];
};

K_MSGQ_DEFINE(rx_q, sizeof(struct rx_frame), RX_QUEUE_DEPTH, 1);
K_MSGQ_DEFINE(tx_q, sizeof(struct tx_packet), CONFIG_RET_LORA_TX_QUEUE, 1);

static K_THREAD_STACK_DEFINE(stack, STACK_SIZE);
static struct k_thread thread;

uint32_t radio_task_bitrate(void)
{
	/* sf * (4 / cr) / (2^sf / bw_khz) kbit/s */
	return (uint32_t)(((uint64_t)CONFIG_RET_LORA_SF * 4 * CONFIG_RET_LORA_BW_HZ) /
			  ((uint64_t)CONFIG_RET_LORA_CR * BIT(CONFIG_RET_LORA_SF)));
}

/* Possibly on a system thread: copy and return. */
static void on_radio_frame(const uint8_t *data, size_t len)
{
	struct rx_frame f;

	if (len == 0 || len > sizeof(f.data)) {
		return;
	}
	f.len = (uint8_t)len;
	memcpy(f.data, data, len);
	if (k_msgq_put(&rx_q, &f, K_NO_WAIT) != 0) {
		LOG_WRN("radio queue full, frame dropped");
	}
}

int radio_task_send(const uint8_t *pkt, size_t len)
{
	static struct tx_packet p;

	if (len == 0 || len > sizeof(p.data)) {
		return -EMSGSIZE;
	}
	p.len = (uint16_t)len;
	memcpy(p.data, pkt, len);
	if (k_msgq_put(&tx_q, &p, K_NO_WAIT) != 0) {
		LOG_WRN("radio busy, packet dropped");
		return -ENOBUFS;
	}
	return 0;
}

/*
 * Wait for the second half of a split packet: a whole frame's airtime, by
 * the formula in the SX126x datasheet, assuming low data rate optimisation
 * and a long preamble, and a margin for the driver.
 */
static uint32_t split_timeout_ms(void)
{
	const uint32_t sf = CONFIG_RET_LORA_SF;
	const uint32_t bits = 8 * RET_RNODE_FRAME_MAX + 44 - 4 * sf;
	const uint32_t symbols = 36 + 8 + DIV_ROUND_UP(bits, 4 * (sf - 2)) * CONFIG_RET_LORA_CR;

	return (uint32_t)(((uint64_t)symbols * BIT(sf) * MSEC_PER_SEC) / CONFIG_RET_LORA_BW_HZ) +
	       SPLIT_MARGIN_MS;
}

static k_timeout_t until(int64_t deadline)
{
	int64_t left = deadline - k_uptime_get();

	return left > 0 ? K_MSEC(left) : K_NO_WAIT;
}

static int64_t backoff_deadline(void)
{
	uint32_t wait = 0;

	if (CONFIG_RET_LORA_BACKOFF_MS > 0) {
		uint8_t r[4];

		if (ret_random(r, sizeof(r)) == 0) {
			memcpy(&wait, r, sizeof(wait));
			wait %= CONFIG_RET_LORA_BACKOFF_MS + 1;
		}
	}
	return k_uptime_get() + wait;
}

static void transmit(const struct tx_packet *p)
{
	static uint8_t frame[2][RET_RNODE_FRAME_MAX];
	struct radio_frame frames[2];
	uint8_t random = 0;
	int count = ret_rnode_frames(p->len);
	int err = count < 0 ? count : 0;

	/* Without randomness the sequence is just less varied. */
	(void)ret_random(&random, 1);
	if (!err) {
		uint8_t header = ret_rnode_header(p->len, random);

		for (int i = 0; i < count; i++) {
			int n = ret_rnode_frame(header, p->data, p->len, i, frame[i]);

			frames[i].data = frame[i];
			frames[i].len = (size_t)n;
		}
		err = radio_send(frames, (size_t)count);
	}
	if (err) {
		LOG_WRN("transmit of %u bytes failed: %d", p->len, err);
	} else {
		LOG_INF("air tx %u bytes", p->len);
	}
}

static void radio_thread(void *a, void *b, void *c)
{
	static struct ret_rnode_rx rx;
	static struct rx_frame f;
	static struct tx_packet tx;
	struct k_poll_event events[2];
	int64_t partial_deadline = 0;
	int64_t tx_at = 0;
	const uint32_t split_timeout = split_timeout_ms();
	bool have_tx = false;

	ARG_UNUSED(a);
	ARG_UNUSED(b);
	ARG_UNUSED(c);

	ret_rnode_rx_reset(&rx);
	k_poll_event_init(&events[0], K_POLL_TYPE_MSGQ_DATA_AVAILABLE, K_POLL_MODE_NOTIFY_ONLY,
			  &rx_q);
	k_poll_event_init(&events[1], K_POLL_TYPE_MSGQ_DATA_AVAILABLE, K_POLL_MODE_NOTIFY_ONLY,
			  &tx_q);

	for (;;) {
		k_timeout_t timeout = K_FOREVER;

		if (rx.partial) {
			timeout = until(partial_deadline);
		} else if (have_tx) {
			timeout = until(tx_at);
		}
		events[0].state = K_POLL_STATE_NOT_READY;
		events[1].state = K_POLL_STATE_NOT_READY;
		(void)k_poll(events, have_tx ? 1 : 2, timeout);

		while (k_msgq_get(&rx_q, &f, K_NO_WAIT) == 0) {
			const uint8_t *pkt;
			int n = ret_rnode_rx_feed(&rx, f.data, f.len, &pkt);

			if (n > 0) {
				LOG_INF("air rx %d bytes", n);
				if (gw_post(GW_FRAME_LORA, pkt, (size_t)n, K_NO_WAIT)) {
					LOG_WRN("transport busy, packet from the air dropped");
				}
			} else if (n < 0) {
				LOG_DBG("air frame dropped: %d", n);
			}
			if (rx.partial) {
				partial_deadline = k_uptime_get() + split_timeout;
			}
			if (have_tx) {
				tx_at = backoff_deadline();
			}
		}
		if (!have_tx && k_msgq_get(&tx_q, &tx, K_NO_WAIT) == 0) {
			have_tx = true;
			tx_at = backoff_deadline();
		}
		if (rx.partial && k_uptime_get() >= partial_deadline) {
			LOG_DBG("second half of a split packet never came");
			ret_rnode_rx_reset(&rx);
		}
		/* Not during a split packet: we would collide with its second half. */
		if (have_tx && !rx.partial && k_uptime_get() >= tx_at) {
			transmit(&tx);
			have_tx = false;
		}
	}
}

int radio_task_start(void)
{
	int err = radio_init(on_radio_frame);

	if (err) {
		return err;
	}
	k_thread_create(&thread, stack, K_THREAD_STACK_SIZEOF(stack), radio_thread, NULL, NULL,
			NULL, K_PRIO_PREEMPT(7), 0, K_NO_WAIT);
	k_thread_name_set(&thread, "radio");
	return 0;
}
```

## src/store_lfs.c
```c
/*
 * Copyright (c) 2026 Circuit Dojo LLC
 * SPDX-License-Identifier: Apache-2.0
 *
 * The transport's path store on LittleFS: one file per destination,
 * /lfs/tp/<hex destination hash>, holding a header, the path's metadata
 * and the announce as received. LittleFS replaces a file's contents
 * atomically when it is closed, so a reset never leaves half a record.
 * When the store is full, or the filesystem's free blocks fall to the
 * reserve, files are removed in directory order (by name, so effectively
 * random) to make room. Each file takes a block: a record is larger than
 * LittleFS inlines.
 */

#include <errno.h>
#include <stdio.h>
#include <string.h>

#include <zephyr/fs/fs.h>
#include <zephyr/logging/log.h>
#include <zephyr/sys/util.h>

#include "gateway.h"

LOG_MODULE_REGISTER(store_lfs, LOG_LEVEL_INF);

#define DIR       "/lfs/tp"
#define MAGIC     0x31505452 /* "RTP1" */
#define NAME_LEN  (2 * RET_TRUNC_HASH_LEN)
#define PATH_SIZE (sizeof(DIR) + 1 + NAME_LEN + 1)
/* Invalid records found while iterating, removed afterwards. */
#define MAX_INVALID 8

struct header {
	uint32_t magic;
	uint16_t meta_size;
	uint16_t len;
};

static struct ret_transport_store store;
static size_t count;
/*
 * Free blocks, as last measured and then tracked: each record file takes a
 * block. fs_statvfs() walks the whole filesystem, so it runs only at start
 * and near the reserve.
 */
static unsigned long free_est;

static void counted_removed(void)
{
	if (count > 0) {
		count--;
	}
	free_est++;
}

static void path_of(const uint8_t dest_hash[RET_TRUNC_HASH_LEN], char out[PATH_SIZE])
{
	char *p = out + snprintf(out, PATH_SIZE, "%s/", DIR);

	for (int i = 0; i < RET_TRUNC_HASH_LEN; i++) {
		p += snprintf(p, 3, "%02x", dest_hash[i]);
	}
}

/* The path of record file @p name, which must be NAME_LEN characters. */
static void path_of_name(const char *name, char out[PATH_SIZE])
{
	snprintf(out, PATH_SIZE, "%s/%.*s", DIR, NAME_LEN, name);
}

static int name_to_hash(const char *name, uint8_t out[RET_TRUNC_HASH_LEN])
{
	if (strlen(name) != NAME_LEN) {
		return -EINVAL;
	}
	return hex2bin(name, NAME_LEN, out, RET_TRUNC_HASH_LEN) == RET_TRUNC_HASH_LEN ? 0 : -EINVAL;
}

static int read_all(struct fs_file_t *f, void *buf, size_t len)
{
	ssize_t n = fs_read(f, buf, len);

	return n < 0 ? (int)n : (n == (ssize_t)len ? 0 : -EBADMSG);
}

/* Close @p f, reporting the first error: @p err, else the close's. */
static int close_with(struct fs_file_t *f, int err)
{
	int cerr = fs_close(f);

	return err ? err : cerr;
}

static int write_all(struct fs_file_t *f, const void *buf, size_t len)
{
	ssize_t n = fs_write(f, buf, len);

	return n < 0 ? (int)n : (n == (ssize_t)len ? 0 : -ENOSPC);
}

/* Read a record; a malformed one reads as -EBADMSG. */
static int read_record(const char *path, struct ret_transport_path_meta *meta, uint8_t *announce,
		       size_t cap, size_t *len)
{
	struct fs_dirent st;
	struct fs_file_t f;
	struct header h;
	int err;

	/* Most lookups are for paths we don't have: fs_open() would log each. */
	err = fs_stat(path, &st);
	if (err) {
		return err;
	}
	fs_file_t_init(&f);
	err = fs_open(&f, path, FS_O_READ);
	if (err) {
		return err;
	}
	err = read_all(&f, &h, sizeof(h));
	if (!err && (h.magic != MAGIC || h.meta_size != sizeof(*meta) || h.len == 0 ||
		     h.len > RET_MTU)) {
		err = -EBADMSG;
	}
	if (!err) {
		err = read_all(&f, meta, sizeof(*meta));
	}
	if (!err && announce) {
		err = cap < h.len ? -ENOBUFS : read_all(&f, announce, h.len);
		if (!err) {
			*len = h.len;
		}
	}
	(void)fs_close(&f);
	return err;
}

static int load(struct ret_transport_store *s, const uint8_t dest_hash[RET_TRUNC_HASH_LEN],
		struct ret_transport_path_meta *meta, uint8_t *announce, size_t cap, size_t *len)
{
	char path[PATH_SIZE];
	int err;

	ARG_UNUSED(s);
	path_of(dest_hash, path);
	err = read_record(path, meta, announce, cap, len);
	if (err == -EBADMSG) {
		LOG_WRN("unreadable path record, removed");
		if (fs_unlink(path) == 0) {
			counted_removed();
		}
		return -ENOENT;
	}
	return err;
}

/* Make room by removing the first record in directory order. */
static int evict_one(void)
{
	struct fs_dir_t dir;
	struct fs_dirent entry;
	char path[PATH_SIZE];
	int err;

	fs_dir_t_init(&dir);
	err = fs_opendir(&dir, DIR);
	if (err) {
		return err;
	}
	path[0] = '\0';
	while (fs_readdir(&dir, &entry) == 0 && entry.name[0] != '\0') {
		if (entry.type == FS_DIR_ENTRY_FILE && strlen(entry.name) == NAME_LEN) {
			path_of_name(entry.name, path);
			break;
		}
	}
	(void)fs_closedir(&dir);
	if (path[0] == '\0') {
		return -ENOENT;
	}
	err = fs_unlink(path);
	if (!err) {
		counted_removed();
	}
	return err;
}

static int free_blocks(unsigned long *out)
{
	struct fs_statvfs st;
	int err = fs_statvfs(DIR, &st);

	if (!err) {
		*out = st.f_bfree;
	}
	return err;
}

/* Room for one more record: under the count, and the reserve left free. */
static int make_room(void)
{
	unsigned long bfree;
	int err;

	while (count >= CONFIG_RET_GATEWAY_STORE_MAX_PATHS) {
		err = evict_one();
		if (err) {
			return err;
		}
	}
	for (;;) {
		if (free_est > CONFIG_RET_GATEWAY_STORE_RESERVE_BLOCKS + 1) {
			return 0;
		}
		/* Near the reserve: measure. */
		err = free_blocks(&bfree);
		if (err) {
			return err;
		}
		free_est = bfree;
		if (bfree > CONFIG_RET_GATEWAY_STORE_RESERVE_BLOCKS) {
			return 0;
		}
		err = evict_one();
		if (err) {
			/* Nothing left to remove: the filesystem is full of something else. */
			return err == -ENOENT ? -ENOSPC : err;
		}
	}
}

static int save(struct ret_transport_store *s, const struct ret_transport_path_meta *meta,
		const uint8_t *announce, size_t len)
{
	struct fs_dirent st;
	struct fs_file_t f;
	char path[PATH_SIZE];
	struct header h = { .magic = MAGIC, .meta_size = sizeof(*meta), .len = (uint16_t)len };
	bool exists;
	int err;

	ARG_UNUSED(s);
	path_of(meta->dest_hash, path);
	exists = fs_stat(path, &st) == 0;

	fs_file_t_init(&f);
	if (!announce) {
		/* Metadata only: rewrite it in place, keeping the announce. */
		if (!exists) {
			return -ENOENT;
		}
		err = fs_open(&f, path, FS_O_RDWR);
		if (err) {
			return err;
		}
		err = fs_seek(&f, sizeof(h), FS_SEEK_SET);
		if (!err) {
			err = write_all(&f, meta, sizeof(*meta));
		}
		return close_with(&f, err);
	}

	if (len == 0 || len > RET_MTU) {
		return -EMSGSIZE;
	}
	if (!exists) {
		err = make_room();
		if (err) {
			return err;
		}
	}
	err = fs_open(&f, path, FS_O_CREATE | FS_O_WRITE | FS_O_TRUNC);
	if (err) {
		return err;
	}
	err = write_all(&f, &h, sizeof(h));
	if (!err) {
		err = write_all(&f, meta, sizeof(*meta));
	}
	if (!err) {
		err = write_all(&f, announce, len);
	}
	err = close_with(&f, err);
	if (err == -ENOSPC) {
		/* The estimate was off (directory blocks, the settings file):
		 * measure on the next insert, and evict from there.
		 */
		free_est = 0;
	}
	if (!exists) {
		if (!err) {
			count++;
			if (free_est > 0) {
				free_est--;
			}
		} else {
			/* Not half a record: it would read as invalid anyway. */
			(void)fs_unlink(path);
		}
	}
	return err;
}

static int remove_path(struct ret_transport_store *s, const uint8_t dest_hash[RET_TRUNC_HASH_LEN])
{
	char path[PATH_SIZE];
	int err;

	ARG_UNUSED(s);
	path_of(dest_hash, path);
	err = fs_unlink(path);
	if (!err) {
		counted_removed();
	}
	return err;
}

/*
 * Visit every record: @p cb gets each valid one (and may stop the walk);
 * unreadable ones are removed once the directory is closed.
 */
static int walk(int (*cb)(const struct ret_transport_path_meta *meta, void *user), void *user,
		size_t *n_files)
{
	static struct ret_transport_path_meta meta;
	static char invalid[MAX_INVALID][PATH_SIZE];
	struct fs_dir_t dir;
	struct fs_dirent entry;
	char path[PATH_SIZE];
	size_t n_invalid = 0;
	size_t n = 0;
	int err;

	fs_dir_t_init(&dir);
	err = fs_opendir(&dir, DIR);
	if (err) {
		return err;
	}
	while ((err = fs_readdir(&dir, &entry)) == 0 && entry.name[0] != '\0') {
		uint8_t hash[RET_TRUNC_HASH_LEN];
		bool ok;

		if (entry.type != FS_DIR_ENTRY_FILE) {
			continue;
		}
		if (strlen(entry.name) != NAME_LEN) {
			/* Not ours: its path may not even fit, so leave it alone. */
			LOG_WRN("unexpected file %s in %s", entry.name, DIR);
			continue;
		}
		path_of_name(entry.name, path);
		ok = name_to_hash(entry.name, hash) == 0 &&
		     read_record(path, &meta, NULL, 0, NULL) == 0 &&
		     memcmp(meta.dest_hash, hash, sizeof(hash)) == 0;
		if (!ok) {
			if (n_invalid < MAX_INVALID) {
				memcpy(invalid[n_invalid++], path, sizeof(path));
			}
			continue;
		}
		n++;
		if (cb && cb(&meta, user)) {
			cb = NULL;
		}
	}
	(void)fs_closedir(&dir);
	for (size_t i = 0; i < n_invalid; i++) {
		LOG_WRN("unreadable path record %s, removed", invalid[i]);
		(void)fs_unlink(invalid[i]);
	}
	if (n_files) {
		*n_files = n;
	}
	return err;
}

static int foreach(struct ret_transport_store *s,
		   int (*cb)(const struct ret_transport_path_meta *meta, void *user), void *user)
{
	ARG_UNUSED(s);
	return walk(cb, user, NULL);
}

ssize_t store_used_bytes(void)
{
	struct fs_statvfs st;
	int err = fs_statvfs(DIR, &st);

	return err ? err : (ssize_t)((st.f_blocks - st.f_bfree) * st.f_frsize);
}

int store_init(struct ret_transport_store **out)
{
	struct fs_dirent st;
	int err = fs_stat(DIR, &st) == 0 ? 0 : fs_mkdir(DIR);

	if (err) {
		LOG_ERR("mkdir %s: %d", DIR, err);
		return err;
	}
	err = walk(NULL, NULL, &count);
	if (!err) {
		err = free_blocks(&free_est);
	}
	if (err) {
		LOG_ERR("reading %s: %d", DIR, err);
		return err;
	}
	store.load = load;
	store.save = save;
	store.remove = remove_path;
	store.foreach = foreach;
	*out = &store;
	LOG_INF("%zu paths in flash", count);
	return 0;
}
```
